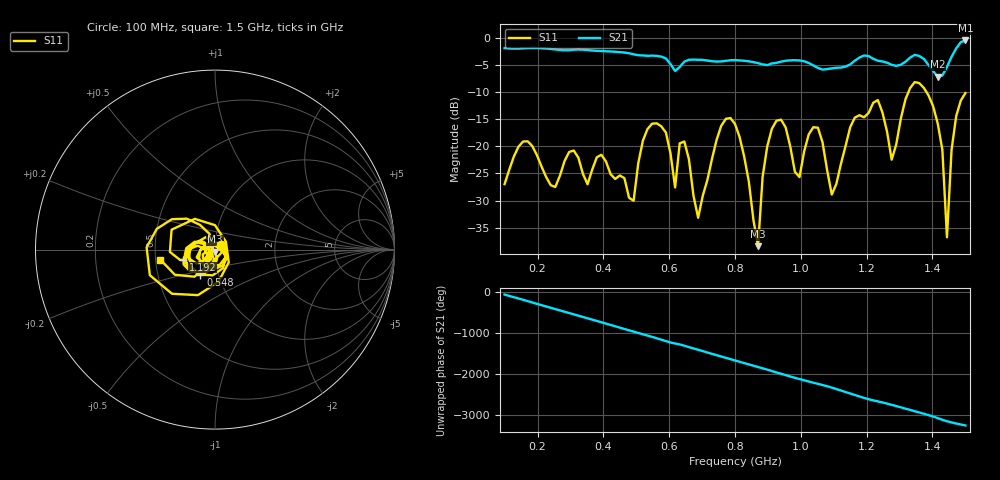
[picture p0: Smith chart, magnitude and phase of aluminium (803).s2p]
! NanoVNA-App
! Date: 2025-09-25 15:01:32
! Start: 100MHz Stop: 1,5GHz Points: 101
! S-Parameter data: F S11 S21 S12 S22
# Hz S RI R 50
!  Frequency  S11_Real  S11_Imag  S21_Real  S21_Imag  S12_Real  S12_Imag  S22_Real  S22_Imag
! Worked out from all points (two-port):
!   101 points, 100 MHz to 1.5 GHz, reference 50 ohm
!   highest |S21| = -0.52 dB at 1.5 GHz (marker M1); lowest = -7.2 dB at 1.416 GHz (marker M2)
!   |S21| within 3 dB of the highest: start of sweep to 576.9 MHz; 1.458 GHz to end of sweep (the widest 2 of 4)
!   lowest |S11| = -38.4 dB at 870 MHz (marker M3), VSWR 1.02, Z = 50 - j1.2 ohm
!   |S11| at or under -10 dB: start of sweep to 1.327 GHz; 1.381 GHz to end of sweep
!   S12 and S22 are empty: the file has one direction only
!   S11 on the Smith chart (normalised r, x): 100 MHz: 1.07, +0.06; 548 MHz: 0.82, -0.23; 1.192 GHz: 0.70, -0.08; 1.5 GHz: 0.53, -0.07
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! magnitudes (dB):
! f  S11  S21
! 100 MHz  -27.0  -1.9
! 156 MHz  -19.1  -2.0
! 338 MHz  -25.1  -2.2
! 492 MHz  -30.0  -3.1
! 548 MHz  -15.8  -3.3
! 576 MHz  -16.3  -3.5
! 618 MHz  -27.6  -6.1
! 646 MHz  -19.1  -4.4
! 688 MHz  -33.2  -4.1
! 800 MHz  -15.9  -4.1
! 870 MHz  -38.4  -4.7
! 912 MHz  -16.8  -4.7
! 996 MHz  -25.7  -4.2
! 1.038 GHz  -16.5  -5.1
! 1.094 GHz  -28.9  -5.7
! 1.192 GHz  -14.7  -3.3
! 1.276 GHz  -22.5  -5.0
! 1.346 GHz  -8.2  -3.2
! 1.416 GHz  -15.8  -7.2
! 1.444 GHz  -36.8  -5.4
! 1.458 GHz  -20.6  -3.5
! 1.5 GHz  -10.2  -0.5
